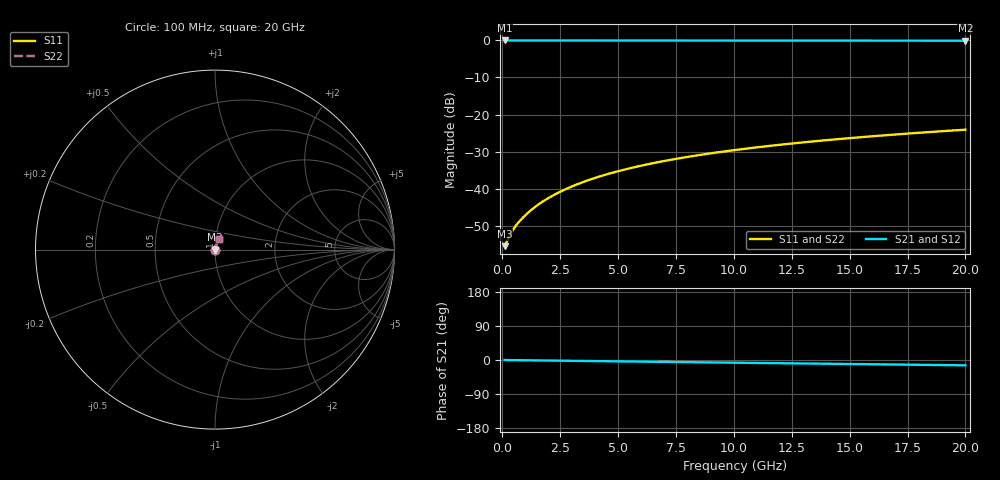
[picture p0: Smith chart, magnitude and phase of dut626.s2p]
! Touchstone file exported from HFSS 2026.1.0
!  File:  C:/ffzhzh/LocalFiles/Ansys_Project_Files/temp_train_TMRDL_626_1783009106_46388.aedt
!  Generated:  12:20:02 AM Jul  3, 2026
!  Design:  TMRDL
!  Project:  temp_train_TMRDL_626_1783009106_46388
! Variables:
!  h_bsmrdl = 2um
!  h_ox = 20um
!  h_rdl = 5um
!  h_sub = 80um
!  h_tmrdl = 2.75um
!  h_tsv = 80um
!  h_via = 3um
!  l_bsmrdl = 300um
!  l_sub = 625.84um
!  l_tmrdl = 225.84um
!  m_sub = 200um
!  pitch = 29.59um
!  r_tsv = 6um
!  s_tmrdl = 10um
!  w_bsmrdl = 18um
!  w_sub = 500um
!  w_tmrdl = 22.57um
!  x_tsv_center1 = 237.125um
!  x_tsv_center2 = 555.125um
!  x_tsv_center3 = 803.535um
!  x_tsv_center4 = 1121.535um
!  x_tsv_center5 = 1369.945um
!  x_tsv_center6 = 1687.945um
# GHz S MA R 50.000000
! Terminal data exported
! Port[1] = TM_RDL1_1_T1
! Port[2] = TM_RDL1_1_T2
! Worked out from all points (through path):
!   200 points, 100 MHz to 20 GHz, reference 50 ohm
!   highest |S21| = -0.01 dB at 100 MHz (marker M1); lowest = -0.1 dB at 20 GHz (marker M2)
!   group delay of S21, straight-line fit = 1.95 ps
!   lowest |S11| = -55.5 dB at 100 MHz (marker M3), VSWR 1.00, Z = 50.2 + j0.0509 ohm
!   |S11| at or under -10 dB: start of sweep to end of sweep
!   |S22| runs from -55.5 to -24.1 dB; largest |S21 - S12| = 2.7e-15
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0.1  0.001681 17.6  0.9984 -0.1  0.9984 -0.1  0.001681 17.6
! Gamma 0 0 0 0
! Port Impedance 50 0 50 0
0.3  0.002275 37.5  0.9982 -0.2  0.9982 -0.2  0.002275 37.5
0.4  0.002596 42.7  0.9981 -0.3  0.9981 -0.3  0.002596 42.7
0.6  0.003211 49.8  0.9979 -0.5  0.9979 -0.5  0.003211 49.8
0.9  0.004112 56.8  0.9977 -0.7  0.9977 -0.7  0.004112 56.8
1.1  0.004716 60.2  0.9977 -0.8  0.9977 -0.8  0.004716 60.2
1.3  0.005326 62.9  0.9976 -1.0  0.9976 -1.0  0.005326 62.9
1.5  0.005942 65.1  0.9976 -1.1  0.9976 -1.1  0.005942 65.0
1.8  0.006879 67.6  0.9975 -1.3  0.9975 -1.3  0.006878 67.6
2.3  0.008464 70.7  0.9974 -1.7  0.9974 -1.7  0.008464 70.7
2.9  0.0104 73.0  0.9973 -2.1  0.9973 -2.1  0.0104 73.0
3.5  0.01234 74.4  0.9971 -2.5  0.9971 -2.5  0.01234 74.4
4.2  0.01463 75.4  0.997 -3.0  0.997 -3.0  0.01463 75.4
5  0.01723 76.0  0.9967 -3.6  0.9967 -3.6  0.01723 76.0
5.9  0.02015 76.3  0.9965 -4.2  0.9965 -4.2  0.02015 76.3
6.8  0.02304 76.3  0.9962 -4.9  0.9962 -4.9  0.02304 76.3
8.3  0.02781 75.9  0.9957 -5.9  0.9957 -5.9  0.02781 75.9
10.1  0.03341 75.2  0.995 -7.2  0.995 -7.2  0.03341 75.2
11.7  0.0383 74.4  0.9944 -8.3  0.9944 -8.3  0.0383 74.4
13.4  0.0434 73.4  0.9937 -9.5  0.9937 -9.5  0.0434 73.4
16.7  0.05309 71.6  0.9924 -11.8  0.9924 -11.8  0.05309 71.6
20  0.06252 69.7  0.9912 -14.1  0.9912 -14.1  0.06252 69.7
